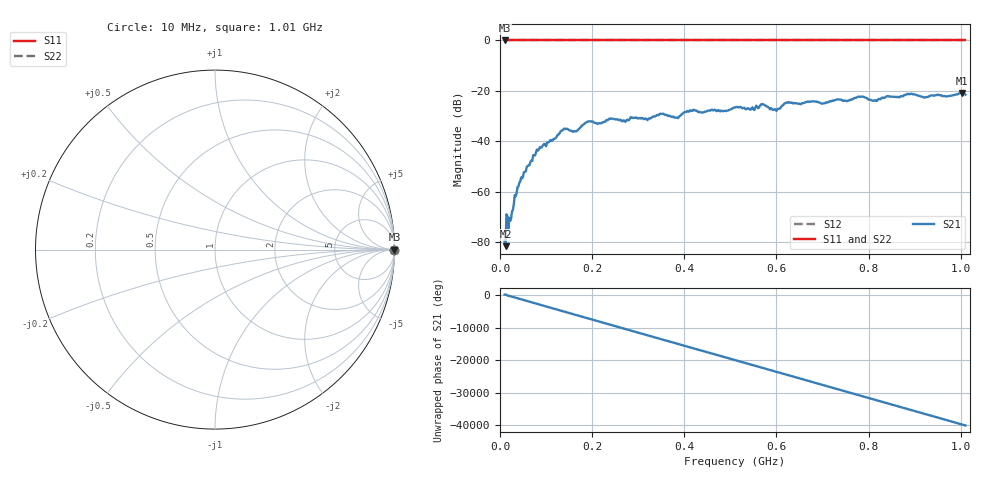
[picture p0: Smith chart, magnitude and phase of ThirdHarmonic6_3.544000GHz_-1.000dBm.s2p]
! 8/17/2025 11:40:55 AM
! C:\ANRITSUVNA\TEMP\TEMP.S2P
! CHANNEL.1
! TR.MEASUREMENT
! RAW.DATA
! RF.CORRECTION.OFF
! AVERAGING.OFF
! IF.BANDWIDTH: 5KHZ
! SWEEPTYPE:  FREQ.SWEEP(Linear)
! Reference Plane Port Info
! PORT:  PORT1  PORT2
! DISTANCE:  0  m  0  m
! TIME:  0  s  0  s
! PHASE.OFFSET:  0  deg.  0  deg.
! LOSS:  0  dB  0  dB
! REF.LOSS:  0  dB  0  dB
! REF.FREQ:  0  Hz  0  Hz
! Power Info
! POWER:  -20  dBm  -20  dBm
! EFF.POWER:  -20  dBm  -20  dBm
! SOURCE.ATTEN:  0  dB  0  dB
! TEST.ATTEN:  0  dB  0  dB
# GHZ S RI R 50.0
! FREQ.GHZ  S11RE  S11IM  S21RE  S21IM  S12RE  S12IM  S22RE  S22IM
!; PortSelection: Port_12
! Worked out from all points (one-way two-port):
!   501 points, 10 MHz to 1.01 GHz, reference 50 ohm
!   highest |S21| = -20.82 dB at 1.002 GHz (marker M1); lowest = -81.7 dB at 12 MHz (marker M2)
!   lowest |S11| = 0.0 dB at 10 MHz (marker M3)
!   |S11| at or under -10 dB: nowhere
!   |S22| runs from 0.0 to 0.0 dB; largest |S21 - S12| = 1.1
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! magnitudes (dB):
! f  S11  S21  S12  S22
! 10 MHz  0.0  -79.6  0.0  0.0
! 12 MHz  0.0  -81.7  0.0  0.0
! 18 MHz  0.0  -74.7  0.0  0.0
! 22 MHz  0.0  -71.7  0.0  0.0
! 42 MHz  0.0  -56.5  0.0  0.0
! 76 MHz  0.0  -45.7  0.0  0.0
! 136 MHz  0.0  -35.7  0.0  0.0
! 162 MHz  0.0  -36.1  0.0  0.0
! 178 MHz  0.0  -33.7  0.0  0.0
! 344 MHz  0.0  -29.7  0.0  0.0
! 384 MHz  0.0  -30.7  0.0  0.0
! 416 MHz  0.0  -28.0  0.0  0.0
! 510 MHz  0.0  -26.6  0.0  0.0
! 570 MHz  0.0  -25.4  0.0  0.0
! 596 MHz  0.0  -27.3  0.0  0.0
! 622 MHz  0.0  -24.7  0.0  0.0
! 678 MHz  0.0  -24.2  0.0  0.0
! 782 MHz  0.0  -22.3  0.0  0.0
! 814 MHz  0.0  -23.7  0.0  0.0
! 844 MHz  0.0  -22.2  0.0  0.0
! 1.002 GHz  0.0  -20.8  0.0  0.0
! 1.01 GHz  0.0  -21.5  0.0  0.0
